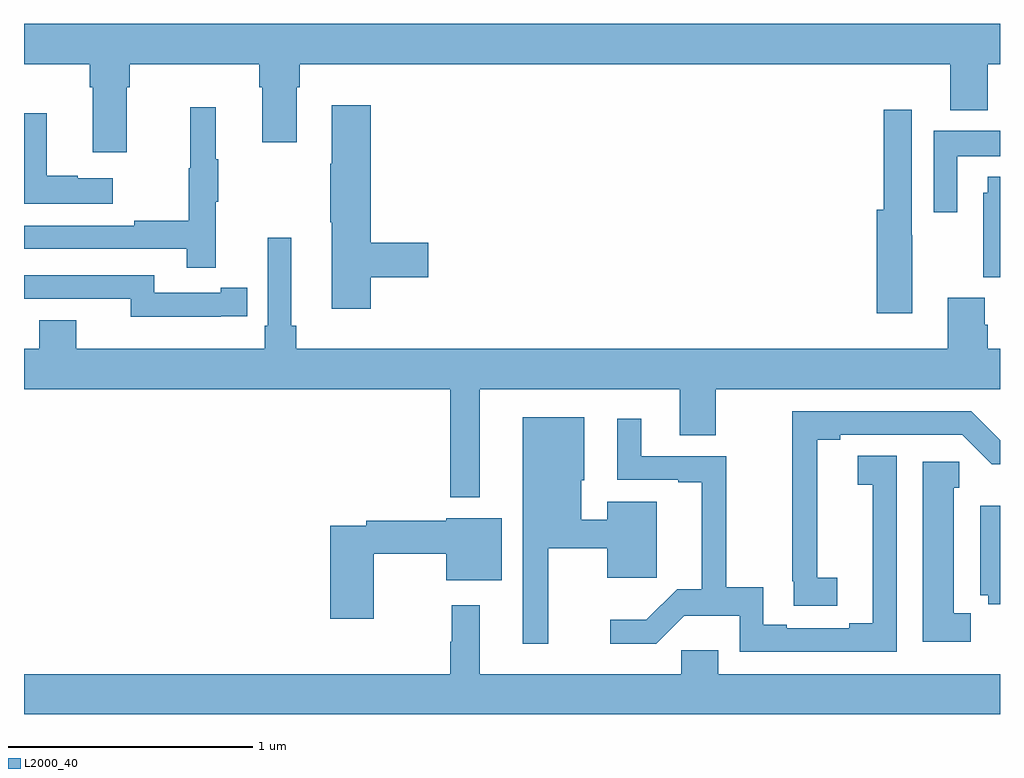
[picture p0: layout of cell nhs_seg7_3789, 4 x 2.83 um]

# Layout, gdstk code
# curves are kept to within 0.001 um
import gdstk
lib = gdstk.Library(unit=1e-6, precision=1e-09)
def P(c, l, *ps):  # polygons
    for p in ps: c.add(gdstk.Polygon(p, *l))
L2000_40 = (2000, 40)

nhs_seg7_3789 = lib.new_cell('nhs_seg7_3789')
P(nhs_seg7_3789, L2000_40, [(351.421,1043.144),(351.434,1043.144),(351.434,1043.24),(351.965,1043.24),(351.965,1043.144),(351.977,1043.144),(351.977,1042.92),(352.117,1042.92),(352.117,1043.144),(352.13,1043.144),(352.13,1043.24),(354.797,1043.24),(354.797,1043.051),(354.95,1043.051),(354.95,1043.24),(355,1043.24),(355,1043.404),(351,1043.404),(351,1043.24),(351.269,1043.24),(351.269,1043.144),(351.281,1043.144),(351.281,1042.878),(351.421,1042.878)],
  [(352.421,1042.366),(352.657,1042.366),(352.657,1042.507),(352.421,1042.507),(352.421,1043.071),(352.262,1043.071),(352.262,1042.832),(352.255,1042.832),(352.255,1042.591),(352.262,1042.591),(352.262,1042.236),(352.421,1042.236)],
  [(351.785,1042.675),(351.796,1042.675),(351.796,1042.849),(351.785,1042.849),(351.785,1043.062),(351.682,1043.062),(351.682,1042.812),(351.675,1042.812),(351.675,1042.598),(351.451,1042.598),(351.451,1042.578),(351,1042.578),(351,1042.482),(351.667,1042.482),(351.667,1042.404),(351.785,1042.404)],
  [(354.64,1042.538),(354.639,1042.538),(354.639,1043.053),(354.523,1043.053),(354.523,1042.642),(354.494,1042.642),(354.494,1042.218),(354.64,1042.218)],
  [(351.364,1042.771),(351.221,1042.771),(351.221,1042.781),(351.094,1042.781),(351.094,1043.038),(351,1043.038),(351,1042.667),(351.364,1042.667)],
  [(354.825,1042.862),(355,1042.862),(355,1042.966),(354.729,1042.966),(354.729,1042.632),(354.825,1042.632)],
  [(355,1042.777),(354.95,1042.777),(354.95,1042.713),(354.932,1042.713),(354.932,1042.366),(355,1042.366)],
  [(352.867,1041.908),(353.687,1041.908),(353.687,1041.718),(353.835,1041.718),(353.835,1041.908),(355,1041.908),(355,1042.072),(354.95,1042.072),(354.95,1042.172),(354.937,1042.172),(354.937,1042.281),(354.785,1042.281),(354.785,1042.072),(352.115,1042.072),(352.115,1042.168),(352.096,1042.168),(352.096,1042.528),(351.999,1042.528),(351.999,1042.168),(351.986,1042.168),(351.986,1042.072),(351.214,1042.072),(351.214,1042.189),(351.062,1042.189),(351.062,1042.072),(351,1042.072),(351,1041.908),(352.746,1041.908),(352.746,1041.464),(352.867,1041.464)],
  [(351.806,1042.206),(351.914,1042.206),(351.914,1042.322),(351.806,1042.322),(351.806,1042.302),(351.534,1042.302),(351.534,1042.374),(351,1042.374),(351,1042.278),(351.438,1042.278),(351.438,1042.205),(351.806,1042.205)],
  [(354.334,1041.134),(354.252,1041.134),(354.25,1041.7),(354.346,1041.7),(354.346,1041.72),(354.846,1041.72),(354.967,1041.599),(355,1041.599),(355,1041.698),(354.882,1041.816),(354.148,1041.816),(354.148,1041.121),(354.154,1041.121),(354.154,1041.019),(354.334,1041.019)],
  [(353.149,1041.256),(353.39,1041.256),(353.39,1041.135),(353.593,1041.135),(353.593,1041.445),(353.39,1041.445),(353.39,1041.373),(353.284,1041.373),(353.284,1041.534),(353.296,1041.534),(353.296,1041.793),(353.045,1041.793),(353.045,1040.865),(353.149,1040.865)],
  [(354.576,1041.635),(354.417,1041.635),(354.417,1041.515),(354.478,1041.515),(354.479,1040.948),(354.383,1040.948),(354.383,1040.928),(354.127,1040.928),(354.127,1040.942),(354.03,1040.942),(354.03,1041.095),(353.879,1041.095),(353.879,1041.633),(353.53,1041.633),(353.53,1041.787),(353.432,1041.787),(353.432,1041.537),(353.681,1041.537),(353.681,1041.525),(353.777,1041.525),(353.777,1041.088),(353.677,1041.088),(353.551,1040.962),(353.403,1040.962),(353.403,1040.865),(353.592,1040.865),(353.705,1040.978),(353.934,1040.978),(353.934,1040.832),(354.576,1040.832)],
  [(354.88,1040.988),(354.811,1040.988),(354.811,1041.504),(354.833,1041.504),(354.833,1041.61),(354.683,1041.61),(354.683,1040.873),(354.88,1040.873)],
  [(355,1041.43),(354.92,1041.43),(354.92,1041.062),(354.952,1041.062),(354.952,1041.025),(355,1041.025)],
  [(352.434,1041.232),(352.73,1041.232),(352.73,1041.125),(352.957,1041.125),(352.957,1041.379),(352.73,1041.379),(352.73,1041.368),(352.402,1041.368),(352.402,1041.348),(352.256,1041.348),(352.256,1040.967),(352.434,1040.967)],
  [(355,1040.74),(353.845,1040.74),(353.845,1040.838),(353.694,1040.838),(353.694,1040.74),(352.867,1040.74),(352.867,1041.022),(352.753,1041.022),(352.753,1040.873),(352.746,1040.873),(352.746,1040.74),(351,1040.74),(351,1040.576),(355,1040.576)])

lib.write_gds('nhs_seg7_3789.gds')
